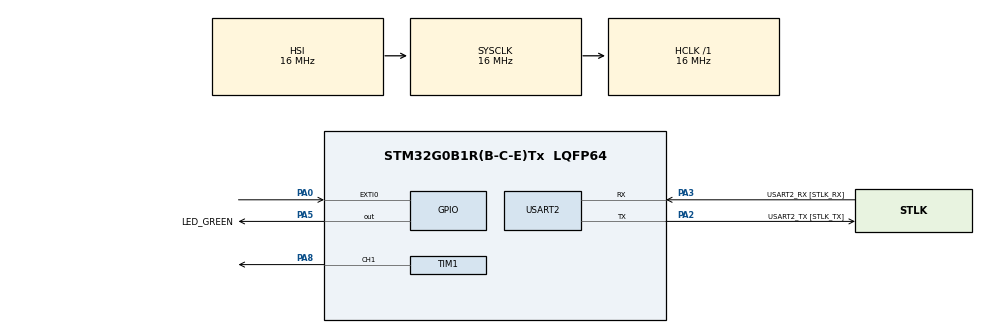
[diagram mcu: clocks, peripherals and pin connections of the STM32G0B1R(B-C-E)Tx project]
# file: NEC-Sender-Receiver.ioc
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Mcu.Family=STM32G0
Mcu.Name=STM32G0B1R(B-C-E)Tx
Mcu.Package=LQFP64
NVIC.EXTI0_1_IRQn=true\:0\:0\:false\:false\:true\:true\:true\:true
PA0.GPIO_ModeDefaultEXTI=GPIO_MODE_IT_RISING_FALLING
PA0.Signal=GPXTI0
PA13.GPIO_Label=TMS
PA13.Mode=Serial_Wire
PA13.Signal=SYS_SWDIO
PA14-BOOT0.GPIO_Label=TCK
PA14-BOOT0.Mode=Serial_Wire
PA14-BOOT0.Signal=SYS_SWCLK
PA2.GPIO_Label=USART2_TX [STLK_TX]
PA2.Mode=Asynchronous
PA2.Signal=USART2_TX
PA3.GPIO_Label=USART2_RX [STLK_RX]
PA3.Mode=Asynchronous
PA3.Signal=USART2_RX
PA5.GPIO_Label=LED_GREEN
PA5.GPIO_Speed=GPIO_SPEED_FREQ_HIGH
PA5.Signal=GPIO_Output
PA8.Signal=S_TIM1_CH1
PC13.Mode=SYS_WakeUp1
PC13.Signal=SYS_WKUP2
PC14-OSC32_IN\ (PC14).Mode=LSE-External-Oscillator
PC14-OSC32_IN\ (PC14).Signal=RCC_OSC32_IN
PC15-OSC32_OUT\ (PC15).Mode=LSE-External-Oscillator
PC15-OSC32_OUT\ (PC15).Signal=RCC_OSC32_OUT
PF0-OSC_IN\ (PF0).GPIO_Label=MCO
PF0-OSC_IN\ (PF0).Mode=HSE-External-Clock-Source
PF0-OSC_IN\ (PF0).Signal=RCC_OSC_IN
ProjectManager.HeapSize=0x200
ProjectManager.StackSize=0x400
ProjectManager.TargetToolchain=STM32CubeIDE
RCC.AHBFreq_Value=16000000
RCC.CortexFreq_Value=16000000
RCC.EXTERNAL_CLOCK_VALUE=12288000
RCC.HCLKFreq_Value=16000000
RCC.HSE_VALUE=8000000
RCC.HSI48_VALUE=48000000
RCC.HSI_VALUE=16000000
RCC.PLLQ=RCC_PLLQ_DIV4
RCC.SYSCLKFreq_VALUE=16000000
RCC.USBFreq_Value=48000000
RCC.VCOOutputFreq_Value=128000000
SH.S_TIM1_CH1.0=TIM1_CH1,PWM Generation1 CH1
TIM1.Channel-PWM\ Generation1\ CH1=TIM_CHANNEL_1
TIM1.Period=420
TIM1.Pulse-PWM\ Generation1\ CH1=210
TIM2.AutoReloadPreload=TIM_AUTORELOAD_PRELOAD_ENABLE
TIM2.Period=65535
TIM2.Prescaler=15
TIM6.AutoReloadPreload=TIM_AUTORELOAD_PRELOAD_ENABLE
TIM6.Prescaler=15
USART2.VirtualMode-Asynchronous=VM_ASYNC
VP_SYS_VS_DBSignals.Mode=DisableDeadBatterySignals
VP_TIM2_VS_ClockSourceINT.Mode=Internal
VP_TIM6_VS_ClockSourceINT.Mode=Enable_Timer
board=NUCLEO-G0B1RE

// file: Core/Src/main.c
/* USER CODE BEGIN Header */
/**
  ******************************************************************************
  * @file           : main.c
  * @brief          : Main program body
  ******************************************************************************
  * @attention
  *
  * Copyright (c) 2026 STMicroelectronics.
  * All rights reserved.
  *
  * This software is licensed under terms that can be found in the LICENSE file
  * in the root directory of this software component.
  * If no LICENSE file comes with this software, it is provided AS-IS.
  *
  ******************************************************************************
  */
/* USER CODE END Header */
#include "main.h"

/* USER CODE BEGIN Includes */
#include <stdio.h>
#include <string.h>
/* USER CODE END Includes */

TIM_HandleTypeDef htim1;
TIM_HandleTypeDef htim2;
TIM_HandleTypeDef htim6;

UART_HandleTypeDef huart2;

/* USER CODE BEGIN PV */
	volatile uint32_t decoded=0;
	volatile uint8_t bitindex=0;
	volatile uint16_t pauza;
	volatile uint8_t s_a_primit_ceva = 0;
/* USER CODE END PV */

void SystemClock_Config(void);
static void MX_GPIO_Init(void);
static void MX_USART2_UART_Init(void);
static void MX_TIM1_Init(void);
static void MX_TIM6_Init(void);
static void MX_TIM2_Init(void);

/* USER CODE BEGIN 0 */
	void my_delay(uint16_t mondelai)
	{
		__HAL_TIM_SET_COUNTER(&htim6, 0);
		while(__HAL_TIM_GET_COUNTER(&htim6) < mondelai);
	}
	void pewemeu(uint32_t control)
	{
		__HAL_TIM_SET_COMPARE(&htim1,TIM_CHANNEL_1,210);
		my_delay(9000);
		__HAL_TIM_SET_COMPARE(&htim1,TIM_CHANNEL_1,0);
		my_delay(4500);
		for (uint8_t i=0;i<32;i++)
		{
			if ((control >> i)& 1)
			{
				__HAL_TIM_SET_COMPARE(&htim1,TIM_CHANNEL_1,210);
				my_delay(562);
				__HAL_TIM_SET_COMPARE(&htim1,TIM_CHANNEL_1,0);
				my_delay(1687);
			}
			else
			{
				__HAL_TIM_SET_COMPARE(&htim1,TIM_CHANNEL_1,210);
				my_delay(562);
				__HAL_TIM_SET_COMPARE(&htim1,TIM_CHANNEL_1,0);
				my_delay(562);
			}
		}
		__HAL_TIM_SET_COMPARE(&htim1,TIM_CHANNEL_1,210);
		my_delay(562);
		__HAL_TIM_SET_COMPARE(&htim1,TIM_CHANNEL_1,0);
	}
/* USER CODE END 0 */

int main(void)
{

  /* MCU Configuration--------------------------------------------------------*/

  /* Reset of all peripherals, Initializes the Flash interface and the Systick. */
  HAL_Init();

  /* Configure the system clock */
  SystemClock_Config();

  /* Initialize all configured peripherals */
  MX_GPIO_Init();
  MX_USART2_UART_Init();
  MX_TIM1_Init();
  MX_TIM6_Init();
  MX_TIM2_Init();
  /* USER CODE BEGIN 2 */
  HAL_TIM_PWM_Start(&htim1,TIM_CHANNEL_1);
  HAL_TIM_Base_Start(&htim6);
  HAL_TIM_Base_Start(&htim2);

  /* USER CODE END 2 */

  /* Infinite loop */
  while (1)
  {

    /* USER CODE BEGIN 3 */
	  pewemeu(0x00FF45BA); //sending signals through pwm
	  HAL_Delay(2000);

  }
  /* USER CODE END 3 */

}

void SystemClock_Config(void)
{
  RCC_OscInitTypeDef RCC_OscInitStruct = {0};
  RCC_ClkInitTypeDef RCC_ClkInitStruct = {0};

  /** Configure the main internal regulator output voltage
  */
  HAL_PWREx_ControlVoltageScaling(PWR_REGULATOR_VOLTAGE_SCALE1);

  /** Initializes the RCC Oscillators according to the specified parameters
  * in the RCC_OscInitTypeDef structure.
  */
  RCC_OscInitStruct.OscillatorType = RCC_OSCILLATORTYPE_HSI;
  RCC_OscInitStruct.HSIState = RCC_HSI_ON;
  RCC_OscInitStruct.HSIDiv = RCC_HSI_DIV1;
  RCC_OscInitStruct.HSICalibrationValue = RCC_HSICALIBRATION_DEFAULT;
  RCC_OscInitStruct.PLL.PLLState = RCC_PLL_NONE;
  if (HAL_RCC_OscConfig(&RCC_OscInitStruct) != HAL_OK)
  {
    Error_Handler();
  }

  /** Initializes the CPU, AHB and APB buses clocks
  */
  RCC_ClkInitStruct.ClockType = RCC_CLOCKTYPE_HCLK|RCC_CLOCKTYPE_SYSCLK
                              |RCC_CLOCKTYPE_PCLK1;
  RCC_ClkInitStruct.SYSCLKSource = RCC_SYSCLKSOURCE_HSI;
  RCC_ClkInitStruct.AHBCLKDivider = RCC_SYSCLK_DIV1;
  RCC_ClkInitStruct.APB1CLKDivider = RCC_HCLK_DIV1;

  if (HAL_RCC_ClockConfig(&RCC_ClkInitStruct, FLASH_LATENCY_0) != HAL_OK)
  {
    Error_Handler();
  }
}

static void MX_TIM1_Init(void)
{

  TIM_MasterConfigTypeDef sMasterConfig = {0};
  TIM_OC_InitTypeDef sConfigOC = {0};
  TIM_BreakDeadTimeConfigTypeDef sBreakDeadTimeConfig = {0};

  htim1.Instance = TIM1;
  htim1.Init.Prescaler = 0;
  htim1.Init.CounterMode = TIM_COUNTERMODE_UP;
  htim1.Init.Period = 420;
  htim1.Init.ClockDivision = TIM_CLOCKDIVISION_DIV1;
  htim1.Init.RepetitionCounter = 0;
  htim1.Init.AutoReloadPreload = TIM_AUTORELOAD_PRELOAD_DISABLE;
  if (HAL_TIM_PWM_Init(&htim1) != HAL_OK)
  {
    Error_Handler();
  }
  sMasterConfig.MasterOutputTrigger = TIM_TRGO_RESET;
  sMasterConfig.MasterOutputTrigger2 = TIM_TRGO2_RESET;
  sMasterConfig.MasterSlaveMode = TIM_MASTERSLAVEMODE_DISABLE;
  if (HAL_TIMEx_MasterConfigSynchronization(&htim1, &sMasterConfig) != HAL_OK)
  {
    Error_Handler();
  }
  sConfigOC.OCMode = TIM_OCMODE_PWM1;
  sConfigOC.Pulse = 210;
  sConfigOC.OCPolarity = TIM_OCPOLARITY_HIGH;
  sConfigOC.OCNPolarity = TIM_OCNPOLARITY_HIGH;
  sConfigOC.OCFastMode = TIM_OCFAST_DISABLE;
  sConfigOC.OCIdleState = TIM_OCIDLESTATE_RESET;
  sConfigOC.OCNIdleState = TIM_OCNIDLESTATE_RESET;
  if (HAL_TIM_PWM_ConfigChannel(&htim1, &sConfigOC, TIM_CHANNEL_1) != HAL_OK)
  {
    Error_Handler();
  }
  sBreakDeadTimeConfig.OffStateRunMode = TIM_OSSR_DISABLE;
  sBreakDeadTimeConfig.OffStateIDLEMode = TIM_OSSI_DISABLE;
  sBreakDeadTimeConfig.LockLevel = TIM_LOCKLEVEL_OFF;
  sBreakDeadTimeConfig.DeadTime = 0;
  sBreakDeadTimeConfig.BreakState = TIM_BREAK_DISABLE;
  sBreakDeadTimeConfig.BreakPolarity = TIM_BREAKPOLARITY_HIGH;
  sBreakDeadTimeConfig.BreakFilter = 0;
  sBreakDeadTimeConfig.BreakAFMode = TIM_BREAK_AFMODE_INPUT;
  sBreakDeadTimeConfig.Break2State = TIM_BREAK2_DISABLE;
  sBreakDeadTimeConfig.Break2Polarity = TIM_BREAK2POLARITY_HIGH;
  sBreakDeadTimeConfig.Break2Filter = 0;
  sBreakDeadTimeConfig.Break2AFMode = TIM_BREAK_AFMODE_INPUT;
  sBreakDeadTimeConfig.AutomaticOutput = TIM_AUTOMATICOUTPUT_DISABLE;
  if (HAL_TIMEx_ConfigBreakDeadTime(&htim1, &sBreakDeadTimeConfig) != HAL_OK)
  {
    Error_Handler();
  }
  HAL_TIM_MspPostInit(&htim1);

}

static void MX_TIM2_Init(void)
{

  TIM_ClockConfigTypeDef sClockSourceConfig = {0};
  TIM_MasterConfigTypeDef sMasterConfig = {0};

  htim2.Instance = TIM2;
  htim2.Init.Prescaler = 15;
  htim2.Init.CounterMode = TIM_COUNTERMODE_UP;
  htim2.Init.Period = 65535;
  htim2.Init.ClockDivision = TIM_CLOCKDIVISION_DIV1;
  htim2.Init.AutoReloadPreload = TIM_AUTORELOAD_PRELOAD_ENABLE;
  if (HAL_TIM_Base_Init(&htim2) != HAL_OK)
  {
    Error_Handler();
  }
  sClockSourceConfig.ClockSource = TIM_CLOCKSOURCE_INTERNAL;
  if (HAL_TIM_ConfigClockSource(&htim2, &sClockSourceConfig) != HAL_OK)
  {
    Error_Handler();
  }
  sMasterConfig.MasterOutputTrigger = TIM_TRGO_RESET;
  sMasterConfig.MasterSlaveMode = TIM_MASTERSLAVEMODE_DISABLE;
  if (HAL_TIMEx_MasterConfigSynchronization(&htim2, &sMasterConfig) != HAL_OK)
  {
    Error_Handler();
  }

}

static void MX_TIM6_Init(void)
{

  TIM_MasterConfigTypeDef sMasterConfig = {0};

  htim6.Instance = TIM6;
  htim6.Init.Prescaler = 15;
  htim6.Init.CounterMode = TIM_COUNTERMODE_UP;
  htim6.Init.Period = 65535;
  htim6.Init.AutoReloadPreload = TIM_AUTORELOAD_PRELOAD_ENABLE;
  if (HAL_TIM_Base_Init(&htim6) != HAL_OK)
  {
    Error_Handler();
  }
  sMasterConfig.MasterOutputTrigger = TIM_TRGO_RESET;
  sMasterConfig.MasterSlaveMode = TIM_MASTERSLAVEMODE_DISABLE;
  if (HAL_TIMEx_MasterConfigSynchronization(&htim6, &sMasterConfig) != HAL_OK)
  {
    Error_Handler();
  }

}

static void MX_USART2_UART_Init(void)
{

  huart2.Instance = USART2;
  huart2.Init.BaudRate = 115200;
  huart2.Init.WordLength = UART_WORDLENGTH_8B;
  huart2.Init.StopBits = UART_STOPBITS_1;
  huart2.Init.Parity = UART_PARITY_NONE;
  huart2.Init.Mode = UART_MODE_TX_RX;
  huart2.Init.HwFlowCtl = UART_HWCONTROL_NONE;
  huart2.Init.OverSampling = UART_OVERSAMPLING_16;
  huart2.Init.OneBitSampling = UART_ONE_BIT_SAMPLE_DISABLE;
  huart2.Init.ClockPrescaler = UART_PRESCALER_DIV1;
  huart2.AdvancedInit.AdvFeatureInit = UART_ADVFEATURE_NO_INIT;
  if (HAL_UART_Init(&huart2) != HAL_OK)
  {
    Error_Handler();
  }
  if (HAL_UARTEx_SetTxFifoThreshold(&huart2, UART_TXFIFO_THRESHOLD_1_8) != HAL_OK)
  {
    Error_Handler();
  }
  if (HAL_UARTEx_SetRxFifoThreshold(&huart2, UART_RXFIFO_THRESHOLD_1_8) != HAL_OK)
  {
    Error_Handler();
  }
  if (HAL_UARTEx_DisableFifoMode(&huart2) != HAL_OK)
  {
    Error_Handler();
  }

}

static void MX_GPIO_Init(void)
{
  GPIO_InitTypeDef GPIO_InitStruct = {0};

  /* GPIO Ports Clock Enable */
  __HAL_RCC_GPIOC_CLK_ENABLE();
  __HAL_RCC_GPIOF_CLK_ENABLE();
  __HAL_RCC_GPIOA_CLK_ENABLE();

  /*Configure GPIO pin Output Level */
  HAL_GPIO_WritePin(LED_GREEN_GPIO_Port, LED_GREEN_Pin, GPIO_PIN_RESET);

  /*Configure GPIO pin : PA0 */
  GPIO_InitStruct.Pin = GPIO_PIN_0;
  GPIO_InitStruct.Mode = GPIO_MODE_IT_RISING_FALLING;
  GPIO_InitStruct.Pull = GPIO_NOPULL;
  HAL_GPIO_Init(GPIOA, &GPIO_InitStruct);

  /*Configure GPIO pin : LED_GREEN_Pin */
  GPIO_InitStruct.Pin = LED_GREEN_Pin;
  GPIO_InitStruct.Mode = GPIO_MODE_OUTPUT_PP;
  GPIO_InitStruct.Pull = GPIO_NOPULL;
  GPIO_InitStruct.Speed = GPIO_SPEED_FREQ_HIGH;
  HAL_GPIO_Init(LED_GREEN_GPIO_Port, &GPIO_InitStruct);

  /* EXTI interrupt init*/
  HAL_NVIC_SetPriority(EXTI0_1_IRQn, 0, 0);
  HAL_NVIC_EnableIRQ(EXTI0_1_IRQn);

}

/* USER CODE BEGIN 4 */
	void HAL_GPIO_EXTI_Rising_Callback(uint16_t GPIO_Pin)
	{
		__HAL_TIM_SET_COUNTER(&htim2,0);
	}
	void HAL_GPIO_EXTI_Falling_Callback( uint16_t GPIO_Pin)
	{
		if(GPIO_Pin==GPIO_PIN_0)
		{
				pauza=__HAL_TIM_GET_COUNTER(&htim2);
				if(pauza >=4000 && pauza<=5000)
				{
					decoded=0;
					bitindex=0;
				}
				else if( pauza >=400 && pauza <=600)
				{
					bitindex=bitindex+1;
				}
				else if(pauza >=1500 && pauza <=1750)
				{
					decoded |= (1 << bitindex);
					bitindex++;
				}
				if (bitindex ==32)
				{
					char msg[50];
					//trimitem urat
					sprintf(msg, "Value decoded: %lX\r\n",decoded);
					HAL_UART_Transmit(&huart2, (uint8_t*)msg, strlen(msg), 100);
					bitindex=0;
				}
			}
		}

/* USER CODE END 4 */

void Error_Handler(void)
{
  __disable_irq();
  while (1)
  {
  }
}
